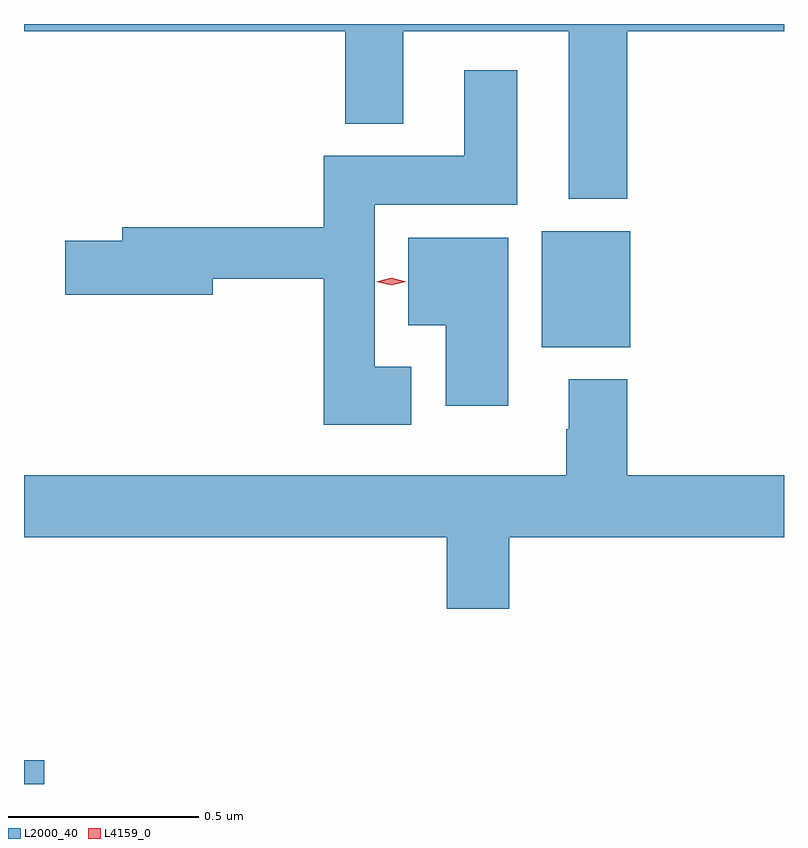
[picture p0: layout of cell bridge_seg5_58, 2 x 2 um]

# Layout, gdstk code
import gdstk
lib = gdstk.Library(unit=1e-6, precision=1e-09)
def R(c, l, rs):  # rectangles x0, y0, x1, y1
    for r in rs: c.add(gdstk.rectangle(r[:2], r[2:], *l))
def P(c, l, *ps):  # polygons
    for p in ps: c.add(gdstk.Polygon(p, *l))
L2000_40 = (2000, 40)
L4159_0 = (4159, 0)

bridge_seg5_58 = lib.new_cell('bridge_seg5_58')
R(bridge_seg5_58, L2000_40, [(715.343,890.743,715.396,890.806), (716.705,891.893,716.938,892.198)])
P(bridge_seg5_58, L2000_40, [(716.93,892.724),(717.343,892.724),(717.343,892.743),(715.343,892.743),(715.343,892.724),(716.189,892.724),(716.189,892.481),(716.341,892.481),(716.341,892.724),(716.777,892.724),(716.777,892.283),(716.93,892.283)],
  [(716.362,891.841),(716.266,891.841),(716.266,892.268),(716.641,892.268),(716.641,892.621),(716.501,892.621),(716.501,892.396),(716.132,892.396),(716.132,892.208),(715.601,892.208),(715.601,892.172),(715.452,892.172),(715.452,892.03),(715.84,892.03),(715.84,892.072),(716.132,892.072),(716.132,891.689),(716.362,891.689)],
  [(716.617,892.18),(716.354,892.18),(716.354,891.95),(716.453,891.95),(716.453,891.738),(716.617,891.738)],
  [(716.62,891.392),(717.343,891.392),(717.343,891.556),(716.93,891.556),(716.93,891.808),(716.777,891.808),(716.777,891.677),(716.77,891.677),(716.77,891.556),(715.343,891.556),(715.343,891.392),(716.456,891.392),(716.456,891.204),(716.62,891.204)])
P(bridge_seg5_58, L4159_0, [(716.31,892.055),(716.27,892.065),(716.269,892.065),(716.27,892.065),(716.31,892.075),(716.349,892.065),(716.349,892.065),(716.349,892.065)])

lib.write_gds('bridge_seg5_58.gds')
